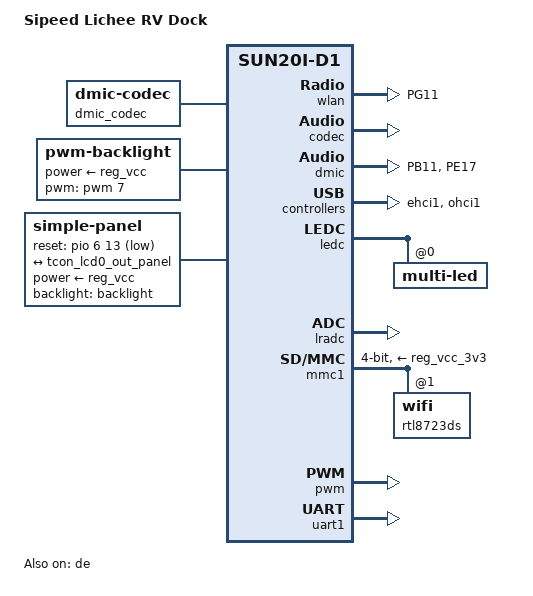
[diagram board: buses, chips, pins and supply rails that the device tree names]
// SPDX-License-Identifier: (GPL-2.0+ or MIT)
// Copyright (C) 2022 Jisheng Zhang <jszhang@kernel.org>
// Copyright (C) 2022 Samuel Holland <samuel@sholland.org>

#include <dt-bindings/display/media-bus-format.h>
#include <dt-bindings/input/input.h>

#include "sun20i-d1-lichee-rv.dts"

/ {
	model = "Sipeed Lichee RV Dock";
	compatible = "sipeed,lichee-rv-dock", "sipeed,lichee-rv",
		     "allwinner,sun20i-d1";

	aliases {
		ethernet1 = &rtl8723ds;
	};

	dmic_codec: dmic-codec {
		compatible = "dmic-codec";
		num-channels = <2>;
		#sound-dai-cells = <0>;
	};

	dmic-sound {
		compatible = "simple-audio-card";
		simple-audio-card,name = "DMIC";
		#address-cells = <1>;
		#size-cells = <0>;

		simple-audio-card,dai-link@0 {
			format = "pdm";
			frame-master = <&link0_cpu>;
			bitclock-master = <&link0_cpu>;

			link0_cpu: cpu {
				sound-dai = <&dmic>;
			};

			link0_codec: codec {
				sound-dai = <&dmic_codec>;
			};
		};
	};

/*
	wifi_pwrseq: wifi-pwrseq {
		compatible = "mmc-pwrseq-simple";
		reset-gpios = <&pio 6 12 GPIO_ACTIVE_LOW>; // PG12 //
	};
*/

	rfkill: rfkill@0 {
		compatible    = "allwinner,sunxi-rfkill";
		chip_en;
		power_en;
		status        = "okay";

		wlan: wlan@0 {
			compatible    = "allwinner,sunxi-wlan";
			pinctrl-0 = <&wlan_pins_a>;
			pinctrl-names = "default";
			clock-names = "32k-fanout1";
			clocks = <&ccu CLK_FANOUT1>;
			wlan_busnum    = <0x1>;
			wlan_regon    = <&pio 6 12 GPIO_ACTIVE_HIGH>;
			wlan_hostwake  = <&pio 6 10 GPIO_ACTIVE_HIGH>;
			/*wlan_power    = "VCC-3V3";*/
			/*wlan_power_vol = <3300000>;*/
			/*interrupt-parent = <&pio>;
			interrupts = < 6 10 IRQ_TYPE_LEVEL_HIGH>;*/
			wakeup-source;

		};

		bt: bt@0 {
			compatible    = "allwinner,sunxi-bt";
			pinctrl-0 = <&wlan_pins_a>;
			pinctrl-names = "default";
			clock-names = "32k-fanout1";
			clocks = <&ccu CLK_FANOUT1>;
			/*bt_power_num = <0x01>;*/
			/*bt_power      = "axp803-dldo1";*/
			/*bt_io_regulator = "axp803-dldo1";*/
			/*bt_io_vol = <3300000>;*/
			/*bt_power_vol = <330000>;*/
			bt_rst_n      = <&pio 6 18 GPIO_ACTIVE_LOW>;
			status        = "okay";
		};
	};

	btlpm: btlpm@0 {
		compatible  = "allwinner,sunxi-btlpm";
		uart_index  = <0x1>;
		bt_wake     = <&pio 6 16 GPIO_ACTIVE_HIGH>;
		bt_hostwake = <&pio 6 17 GPIO_ACTIVE_HIGH>;
		status      = "disabled";
	};

	addr_mgt: addr_mgt@0 {
		compatible     = "allwinner,sunxi-addr_mgt";
		type_addr_wifi = <0x0>;
		type_addr_bt   = <0x0>;
		type_addr_eth  = <0x0>;
		status         = "okay";
	};

	backlight: backlight {
		compatible = "pwm-backlight";
		power-supply = <&reg_vcc>;
		pwms = <&pwm 7 10000 0>;
	};

	panel {
		compatible = "simple-panel";
		backlight = <&backlight>;
		power-supply = <&reg_vcc>;
		reset-gpios = <&pio 6 13 GPIO_ACTIVE_LOW>; /* PG13 */

		bpc = <6>;
		bus-format = <MEDIA_BUS_FMT_RGB666_1X18>;

		/* LCD size */
		width-mm = <154>;
		height-mm = <86>;

		panel-timing {
			clock-frequency = <51000000>;
			hactive = <1024>;
			vactive = <600>;
			hfront-porch = <140>;
			hsync-len = <20>;
			hback-porch = <140>;
			vfront-porch = <20>;
			vsync-len = <3>;
			vback-porch = <20>;
			hsync-active = <0>;
			vsync-active = <0>;
		};

		port {
			panel_in_tcon_lcd0: endpoint {
				remote-endpoint = <&tcon_lcd0_out_panel>;
			};
		};
	};
};

&codec {
	routing = "Internal Speaker", "HPOUTL",
		  "Internal Speaker", "HPOUTR",
		  "LINEINL", "HPOUTL",
		  "LINEINR", "HPOUTR",
		  "MICIN3", "Internal Microphone",
		  "Internal Microphone", "HBIAS";
	widgets = "Microphone", "Internal Microphone",
		  "Speaker", "Internal Speaker";
	status = "okay";
};

&de {
	status = "okay";
};

&dmic {
	pinctrl-0 = <&dmic_pb11_d0_pin>, <&dmic_pe17_clk_pin>;
	pinctrl-names = "default";
	status = "okay";
};

&ehci1 {
	status = "okay";
};

&ledc {
	pinctrl-0 = <&ledc_pc0_pin>;
	pinctrl-names = "default";
	status = "okay";

	multi-led@0 {
		reg = <0x0>;
		color = <LED_COLOR_ID_RGB>;
		function = LED_FUNCTION_STATUS;
	};
};

&lradc {
	status = "okay";

	button-220 {
		label = "OK";
		linux,code = <KEY_OK>;
		channel = <0>;
		voltage = <220000>;
	};
};

&mmc1 {
	bus-width = <4>;
/*
	mmc-pwrseq = <&wifi_pwrseq>;
*/
	no-sd;
	cap-sdio-irq;
	keep-power-in-suspend;
	ignore-pm-notify;
	ctl-spec-caps = <0x8>;

	sunxi-dly-52M-ddr4  = <1 0 0 0 2>;
	sunxi-dly-104M  = <1 0 0 0 1>;
	sunxi-dly-208M  = <1 0 0 0 1>;

/*
	non-removable;
*/
	vmmc-supply = <&reg_vcc_3v3>;
	vqmmc-supply = <&reg_vcc_3v3>;

	pinctrl-0 = <&mmc1_pins>;
	pinctrl-1 = <&sdc1_pins_b>;
	pinctrl-names = "default","sleep";
	status = "okay";

	rtl8723ds: wifi@1 {
		reg = <1>;
	};
};

&ohci1 {
	status = "okay";
};

&pio {
	dmic_pb11_d0_pin: dmic-pb11-d0-pin {
		pins = "PB11";
		function = "dmic";
	};

	dmic_pe17_clk_pin: dmic-pe17-clk-pin {
		pins = "PE17";
		function = "dmic";
	};

	sdc1_pins_a: sdc1@0 {
		pins = "PG0", "PG1", "PG2",
		       "PG3", "PG4", "PG5";
		function = "mmc1";
		drive-strength = <30>;
		bias-pull-up;
	};

	sdc1_pins_b: sdc1@1 {
		pins = "PG0", "PG1", "PG2",
		       "PG3", "PG4", "PG5";
			function = "gpio_in";
	};

	wlan_pins_a:wlan@0 {
		pins = "PG11";
		function = "clk";
	};
};

&pwm {
	pinctrl-0 = <&pwm7_pd22_pin>;
	pinctrl-names = "default";
	status = "okay";
};

&tcon_lcd0 {
	pinctrl-0 = <&lcd_rgb666_pins>;
	pinctrl-names = "default";
};

&tcon_lcd0_out {
	tcon_lcd0_out_panel: endpoint {
		remote-endpoint = <&panel_in_tcon_lcd0>;
	};
};

&uart1 {
	uart-has-rtscts;
	pinctrl-0 = <&uart1_pg6_pins>, <&uart1_pg8_rts_cts_pins>;
	pinctrl-names = "default";
	status = "okay";

/*
	bluetooth {
		compatible = "realtek,rtl8723ds-bt";
		device-wake-gpios = <&pio 6 15 GPIO_ACTIVE_HIGH>; // PG16 //
		enable-gpios = <&pio 6 18 GPIO_ACTIVE_HIGH>; // PG18 //
		host-wake-gpios = <&pio 6 17 GPIO_ACTIVE_HIGH>; // PG17 //
	};
*/
};

&usbphy {
	/* PD20 and PD21 are repurposed for the LCD panel */
	/delete-property/ usb0_id_det-gpios;
	/delete-property/ usb0_vbus_det-gpios;
	usb1_vbus-supply = <&reg_vcc>;
};
